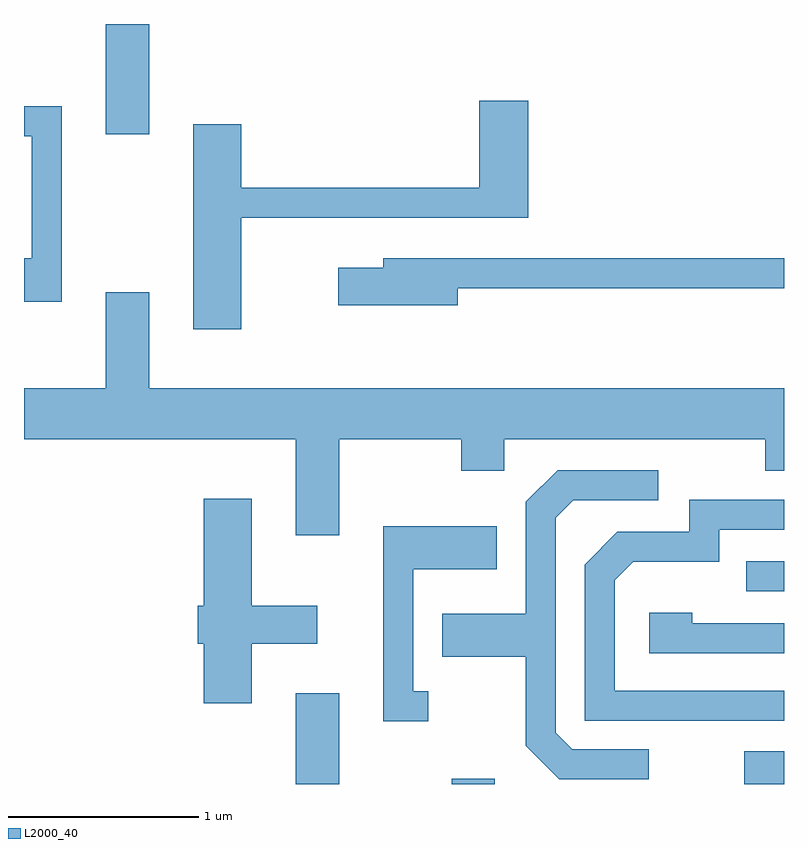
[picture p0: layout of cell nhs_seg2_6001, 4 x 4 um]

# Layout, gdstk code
import gdstk
lib = gdstk.Library(unit=1e-6, precision=1e-09)
def R(c, l, rs):  # rectangles x0, y0, x1, y1
    for r in rs: c.add(gdstk.rectangle(r[:2], r[2:], *l))
def P(c, l, *ps):  # polygons
    for p in ps: c.add(gdstk.Polygon(p, *l))
L2000_40 = (2000, 40)

nhs_seg2_6001 = lib.new_cell('nhs_seg2_6001')
R(nhs_seg2_6001, L2000_40, [(363.041,1079.802,363.269,1080.279), (363.861,1079.802,364.089,1079.829), (365.401,1079.802,365.611,1079.974), (365.413,1080.816,365.611,1080.974), (362.041,1083.221,362.269,1083.802)])
P(nhs_seg2_6001, L2000_40, [(362.754,1082.781),(364.264,1082.781),(364.264,1083.399),(364.006,1083.399),(364.006,1082.939),(362.754,1082.939),(362.754,1083.274),(362.501,1083.274),(362.501,1082.196),(362.754,1082.196)],
  [(361.809,1083.369),(361.611,1083.369),(361.611,1083.211),(361.651,1083.211),(361.651,1082.569),(361.611,1082.569),(361.611,1082.341),(361.809,1082.341)],
  [(363.894,1082.411),(365.611,1082.411),(365.611,1082.569),(363.501,1082.569),(363.501,1082.519),(363.266,1082.519),(363.266,1082.321),(363.894,1082.321)],
  [(363.269,1081.616),(363.911,1081.616),(363.911,1081.451),(364.139,1081.451),(364.139,1081.616),(365.511,1081.616),(365.511,1081.451),(365.611,1081.451),(365.611,1081.884),(362.269,1081.884),(362.269,1082.389),(362.041,1082.389),(362.041,1081.884),(361.611,1081.884),(361.611,1081.616),(363.041,1081.616),(363.041,1081.111),(363.269,1081.111)],
  [(364.898,1079.984),(364.497,1079.984),(364.409,1080.072),(364.409,1081.204),(364.502,1081.296),(364.948,1081.296),(364.948,1081.454),(364.419,1081.454),(364.251,1081.287),(364.251,1080.699),(363.811,1080.699),(363.811,1080.471),(364.251,1080.471),(364.251,1080.004),(364.429,1079.826),(364.898,1079.826)],
  [(362.809,1080.541),(363.154,1080.541),(363.154,1080.739),(362.809,1080.739),(362.809,1081.304),(362.556,1081.304),(362.556,1080.739),(362.526,1080.739),(362.526,1080.541),(362.556,1080.541),(362.556,1080.226),(362.809,1080.226)],
  [(365.611,1080.294),(364.719,1080.294),(364.719,1080.874),(364.817,1080.971),(365.269,1080.971),(365.269,1081.141),(365.611,1081.141),(365.611,1081.299),(365.111,1081.299),(365.111,1081.129),(364.734,1081.129),(364.561,1080.957),(364.561,1080.136),(365.611,1080.136)],
  [(363.738,1080.289),(363.659,1080.289),(363.659,1080.931),(364.099,1080.931),(364.099,1081.159),(363.501,1081.159),(363.501,1080.131),(363.738,1080.131)],
  [(365.611,1080.649),(365.129,1080.649),(365.129,1080.704),(364.901,1080.704),(364.901,1080.491),(365.611,1080.491)])

lib.write_gds('nhs_seg2_6001.gds')
